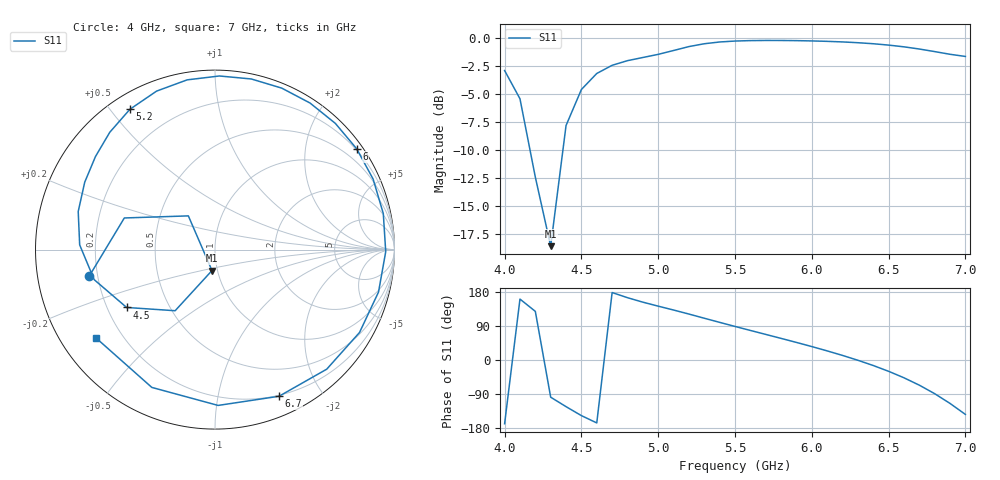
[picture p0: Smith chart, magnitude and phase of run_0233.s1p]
! Touchstone file exported from HFSS 2024.2.0
!  File:  C:/Users/wsak9/Desktop/Sim Fast/Widenad Patch/WP_AI_V1_sweep.aedt
!  Generated:  12:45:06 AM Oct 14, 2026
!  Design:  A1_model
!  Project:  WP_AI_V1_sweep
!  Setup:  Setup1
!  Solution:  Sweep
! Variables:
!  Air_gap = 2.84mm
!  Curve_Amp1 = 1.7
!  Curve_len1 = 1
!  Curve_pos = 13.425mm
!  Extra = 7.81mm
!  H_sub = 0.79mm
!  L_Patch = 22.85mm
!  L_Patch1 = 20.35mm
!  Sx = 3.26mm
!  Sy = 4.75mm
!  WS = 0.46mm
!  W_Patch = 13.51mm
!  W_Patch1 = 12.54mm
!Data is not renormalized
# GHz S MA
! Terminal data exported
! Port[1] = 1
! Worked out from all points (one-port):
!   31 points, 4 GHz to 7 GHz, reference per port
!   lowest |S11| = -18.6 dB at 4.3 GHz (marker M1), VSWR 1.27
!   |S11| at or under -10 dB: 4.165 GHz to 4.38 GHz (214.3 MHz wide, 5.02 % of centre)
!   S11 on the Smith chart (normalised r, x): 4 GHz: 0.17, -0.10; 4.5 GHz: 0.28, -0.28; 5.2 GHz: 0.06, +0.56; 6 GHz: 0.17, +3.12; 6.7 GHz: 0.19, -1.51; 7 GHz: 0.11, -0.33
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4  0.7149 -168.2
4.1  0.535 160.8
4.2  0.2394 128.3
4.3  0.1178 -98.1
4.4  0.4066 -123.1
4.5  0.5885 -146.8
4.6  0.6936 -166.0
4.7  0.7544 178.0
4.8  0.7911 164.4
5  0.844 142.1
5.2  0.9142 121.2
5.3  0.9411 110.2
5.4  0.9583 99.3
5.5  0.9676 88.6
5.6  0.9719 78.0
5.7  0.9735 67.5
5.9  0.9717 46.4
6  0.9688 35.4
6.1  0.9647 24.1
6.2  0.9589 12.1
6.3  0.9513 -0.7
6.4  0.9412 -14.6
6.5  0.9283 -29.8
6.6  0.9118 -46.9
6.7  0.8916 -66.4
6.8  0.8683 -88.9
6.9  0.8447 -114.6
7  0.8261 -143.5
